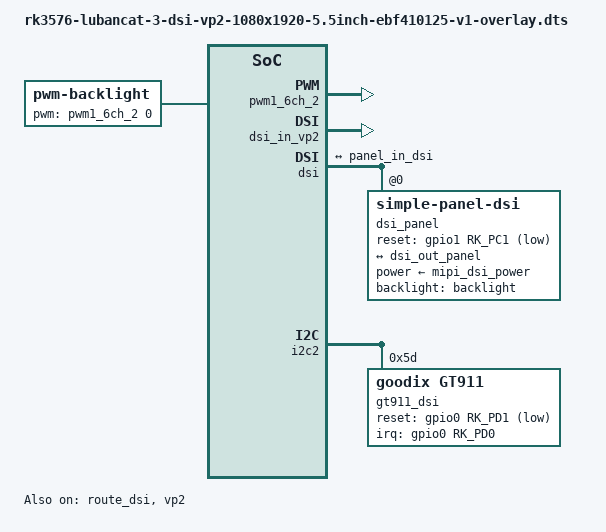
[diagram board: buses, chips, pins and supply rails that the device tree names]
/dts-v1/;
/plugin/;

#include <dt-bindings/gpio/gpio.h>
#include <dt-bindings/pinctrl/rockchip.h>
#include <dt-bindings/display/drm_mipi_dsi.h>
#include <dt-bindings/interrupt-controller/irq.h>

/ {
	fragment@0 {
		target-path = "/";

		__overlay__ {
			backlight: backlight {
				compatible = "pwm-backlight";
				pwms = <&pwm1_6ch_2 0 25000 0>;
				brightness-levels = <
					0  20  20  21  21  22  22  23
					23  24  24  25  25  26  26  27
					27  28  28  29  29  30  30  31
					31  32  32  33  33  34  34  35
					35  36  36  37  37  38  38  39
					40  41  42  43  44  45  46  47
					48  49  50  51  52  53  54  55
					56  57  58  59  60  61  62  63
					64  65  66  67  68  69  70  71
					72  73  74  75  76  77  78  79
					80  81  82  83  84  85  86  87
					88  89  90  91  92  93  94  95
					96  97  98  99 100 101 102 103
					104 105 106 107 108 109 110 111
					112 113 114 115 116 117 118 119
					120 121 122 123 124 125 126 127
					128 129 130 131 132 133 134 135
					136 137 138 139 140 141 142 143
					144 145 146 147 148 149 150 151
					152 153 154 155 156 157 158 159
					160 161 162 163 164 165 166 167
					168 169 170 171 172 173 174 175
					176 177 178 179 180 181 182 183
					184 185 186 187 188 189 190 191
					192 193 194 195 196 197 198 199
					200 201 202 203 204 205 206 207
					208 209 210 211 212 213 214 215
					216 217 218 219 220 221 222 223
					224 225 226 227 228 229 230 231
					232 233 234 235 236 237 238 239
					240 241 242 243 244 245 246 247
					248 249 250 251 252 253 254 255
				>;
				default-brightness-level = <200>;
			};
		};
	};

	fragment@1 {
		target = <&pwm1_6ch_2>;

		__overlay__ {
			status = "okay";
			pinctrl-0 = <&pwm1m1_ch2>;
		};
	};

	fragment@2 {
		target = <&route_dsi>;

		__overlay__ {
			status = "okay";
			connect = <&vp2_out_dsi>;
		};
	};

	fragment@3 {
		target = <&dsi_in_vp0>;

		__overlay__ {
			status = "disabled";
		};
	};

	fragment@4 {
		target = <&dsi_in_vp1>;

		__overlay__ {
			status = "disabled";
		};
	};

	fragment@5 {
		target = <&dsi_in_vp2>;

		__overlay__ {
			status = "okay";
		};
	};

	fragment@6 {
		target = <&dsi_in_vopl>;

		__overlay__ {
			status = "disabled";
		};
	};

	fragment@7 {
		target = <&vp2>;

		__overlay__ {
			status = "okay";
		};
	};

	fragment@8 {
		target = <&dsi>;

		__overlay__ {
			status = "okay";
			#address-cells = <1>;
			#size-cells = <0>;
			//rockchip,lane-rate = <1000>;

			dsi_panel: panel@0 {
				status = "okay";
				compatible = "simple-panel-dsi";
				reg = <0>;
				backlight = <&backlight>;
				power-supply = <&mipi_dsi_power>;
				reset-gpios = <&gpio1 RK_PC1 GPIO_ACTIVE_LOW>;

				enable-delay-ms = <35>;
				prepare-delay-ms = <6>;
				reset-delay-ms = <10>;
				init-delay-ms = <50>;
				unprepare-delay-ms = <0>;
				disable-delay-ms = <20>;

				width-mm = <74>;
				height-mm = <133>;

				dsi,flags = <(MIPI_DSI_MODE_VIDEO | MIPI_DSI_MODE_VIDEO_BURST |
						MIPI_DSI_MODE_LPM | MIPI_DSI_MODE_NO_EOT_PACKET)>;
				dsi,format = <MIPI_DSI_FMT_RGB888>;
				dsi,lanes  = <4>;

				panel-init-sequence = [
					15 00 02 b0 04
					15 00 02 d6 01
					39 00 07 B3 14 00 00 00 00 00
					39 00 03 B4 0C 00
					39 00 04 B6 4B DB 00
					39 00 24 C1 04 60 00 3F 98 F3 C7 2F FF FF FF 5D 63 AC B9 FF FF FF E4 8B 7F 0C F8 00 00 00 00 00 6B 11 02 21 00 01 11
					39 00 09 C2 31 F7 80 08 08 00 00 08
					39 00 0c C4 70 00 00 00 00 00 00 00 00 01 06
					39 00 16 C6 C8 01 76 06 6A 00 00 00 00 00 00 00 00 00 00 00 00 0A 1C 07 C8
					39 00 1f C7 02 0E 17 22 31 41 49 58 3C 45 52 61 6A 71 7C 02 0E 17 22 31 41 49 58 3C 45 52 61 6A 71 7C
					39 00 10 CB FF FF FF FF 00 00 00 00 00 00 00 00 E0 00 00
					15 00 02 CC 0E
					39 00 0B D0 11 00 00 54 CA 40 19 19 09 00
					39 00 05 D1 04 48 06 0D
					39 00 1b D3 1B 33 BB BB B3 33 33 33 33 00 01 00 00 D8 A0 08 4C 4C 33 33 72 12 8A 57 3D BC
					39 00 08 D5 06 00 00 01 2B 01 2B
					15 00 02 3a 70
					15 00 02 de 00
					05 50 01 29
					05 78 01 11
				];

				panel-exit-sequence = [
					05 78 01 28
					05 00 01 10
				];

				disp_timings0: display-timings {
					native-mode = <&dsi_timing0>;
					dsi_timing0: timing0 {
						clock-frequency = <146390400>;
						hactive = <1080>;
						vactive = <1920>;
						hsync-len = <8>;
						hback-porch = <80>;
						hfront-porch = <80>;
						vsync-len = <5>;
						vback-porch = <20>;
						vfront-porch = <10>;
						hsync-active = <0>;
						vsync-active = <0>;
						de-active = <0>;
						pixelclk-active = <0>;
					};
				};

				ports {
					#address-cells = <1>;
					#size-cells = <0>;

					port@0 {
						reg = <0>;
						panel_in_dsi: endpoint {
							remote-endpoint = <&dsi_out_panel>;
						};
					};
				};
			};

			ports {
				#address-cells = <1>;
				#size-cells = <0>;

				port@1 {
					reg = <1>;
					dsi_out_panel: endpoint {
						remote-endpoint = <&panel_in_dsi>;
					};
				};
			};

		};
	};

	fragment@9 {
		target = <&i2c2>;

		__overlay__ {
			pinctrl-names = "default";
			pinctrl-0 = <&i2c2m0_xfer>;
			#address-cells = <1>;
			#size-cells = <0>;
			status = "okay";

			gt911_dsi: gt911@5d {
				status = "okay";
				compatible = "goodix,gt911";
				reg = <0x5d>;
				interrupt-parent = <&gpio0>;
				interrupts = <RK_PD0 IRQ_TYPE_LEVEL_LOW>;
				reset-gpios = <&gpio0 RK_PD1 GPIO_ACTIVE_LOW>;
				irq-gpios = <&gpio0 RK_PD0 GPIO_ACTIVE_HIGH>;
				touchscreen-inverted-x = <1>;
				touchscreen-inverted-y = <1>;
			};
		};
	};
};
